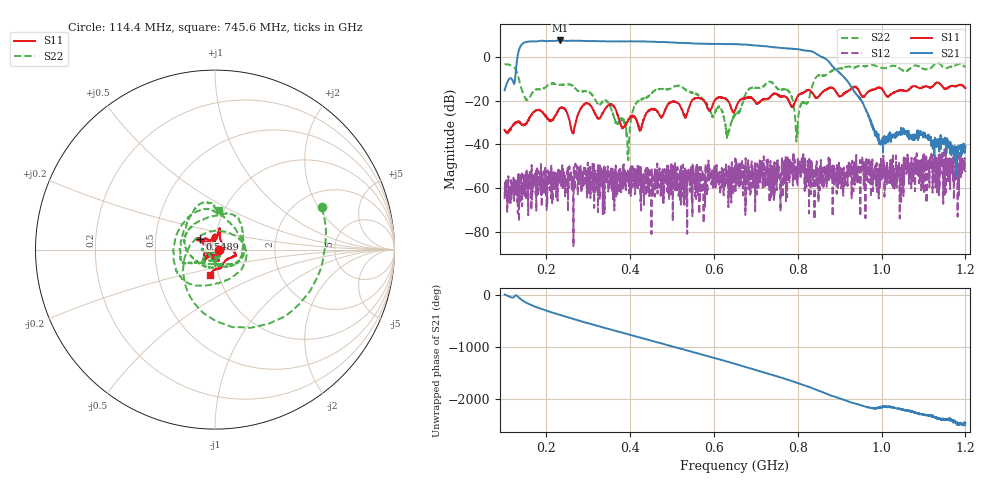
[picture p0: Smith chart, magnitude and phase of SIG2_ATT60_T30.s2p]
# Hz S DB R 50
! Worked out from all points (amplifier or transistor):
!   1601 points, 100 MHz to 1.2 GHz, reference 50 ohm
!   highest |S21| = 7.5 dB at 232 MHz (marker M1)
!   |S21| within 3 dB of that: 137 MHz to 735.9 MHz (598.9 MHz wide, 137 % of centre) (the widest 1 of 2)
!   unconditionally stable (mu >= 1): start of sweep to end of sweep
!   at 282.9 MHz: K = 88.61, MAG = 7.5 dB, |S12| = -52.6 dB
!   at 650 MHz: K = 181.77, MAG = 5.8 dB, |S12| = -57.0 dB
!   at 1.2 GHz: K = 14777.43, MAG = -38.7 dB, |S12| = -52.7 dB
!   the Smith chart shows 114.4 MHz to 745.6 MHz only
!   S11 on the Smith chart (normalised r, x): 114.4 MHz: 1.04, -0.01; 548.9 MHz: 0.84, +0.10; 745.6 MHz: 0.91, -0.26
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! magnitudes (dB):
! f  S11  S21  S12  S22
! 100 MHz  -33.4  -15.3  -65.0  -3.5
! 114.4 MHz  -33.5  -9.8  -61.5  -3.8
! 152.9 MHz  -30.6  6.9  -52.0  -19.6
! 232 MHz  -23.5  7.5  -52.1  -12.8
! 262.9 MHz  -34.6  7.3  -59.9  -13.3
! 283.6 MHz  -23.2  7.3  -62.1  -15.9
! 344.8 MHz  -22.8  7.1  -58.3  -20.4
! 394.2 MHz  -29.5  7.1  -52.1  -43.7
! 413.5 MHz  -28.7  7.0  -51.0  -21.3
! 467.1 MHz  -25.8  6.8  -54.3  -14.8
! 548.9 MHz  -19.6  6.1  -49.3  -16.4
! 614.9 MHz  -18.6  5.9  -62.1  -23.3
! 632.1 MHz  -19.8  5.8  -58.1  -36.3
! 650 MHz  -24.4  5.8  -57.0  -26.5
! 684.4 MHz  -18.8  5.4  -51.2  -14.7
! 745.6 MHz  -17.0  4.3  -50.9  -13.1
! 780.6 MHz  -20.9  3.8  -47.1  -16.3
! 797.8 MHz  -18.7  3.6  -54.0  -35.8
! 833.6 MHz  -16.4  2.5  -48.3  -13.8
! 995.1 MHz  -14.0  -38.5  -49.1  -4.9
! 1.017 GHz  -17.8  -36.1  -52.4  -4.6
! 1.2 GHz  -14.3  -40.7  -52.7  -4.7
